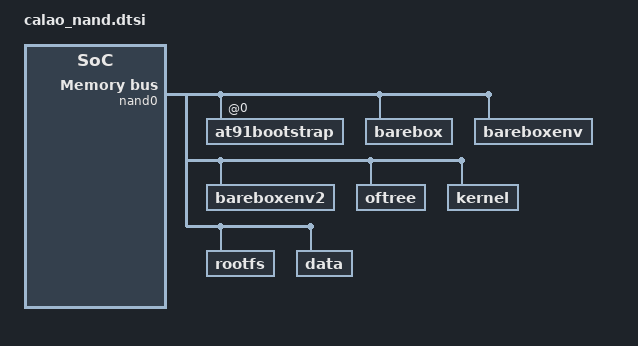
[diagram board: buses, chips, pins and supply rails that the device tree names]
/* SPDX-License-Identifier: GPL-2.0-only */

&nand0 {
	nand-bus-width = <8>;
	nand-ecc-mode = "soft";
	nand-on-flash-bbt;
	status = "okay";

	at91bootstrap@0 {
		label = "at91bootstrap";
		reg = <0x0 0x20000>;
	};

	barebox@20000 {
		label = "barebox";
		reg = <0x20000 0x40000>;
	};

	bareboxenv@60000 {
		label = "bareboxenv";
		reg = <0x60000 0x20000>;
	};

	bareboxenv2@80000 {
		label = "bareboxenv2";
		reg = <0x80000 0x20000>;
	};

	oftree@80000 {
		label = "oftree";
		reg = <0xa0000 0x20000>;
	};

	kernel@a0000 {
		label = "kernel";
		reg = <0xc0000 0x400000>;
	};

	rootfs@4a0000 {
		label = "rootfs";
		reg = <0x4c0000 0x7800000>;
	};

	data@7ca0000 {
		label = "data";
		reg = <0x7cc0000 0x8340000>;
	};
};
